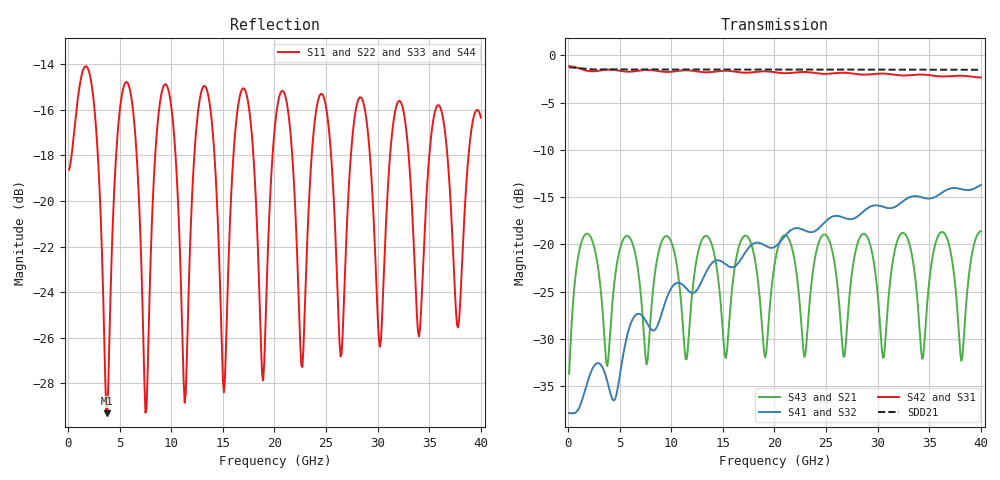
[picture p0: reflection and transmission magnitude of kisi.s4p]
! T_ts6_diff_sl: Edge-coupled stripline pair In2, w 0.1 / s 0.15 mm, 20 mm
! stackup: ThunderScope Rev5.3 6-layer (FR408HR / FR-4, from the board file)
! ports: 1 near A, 2 near B, 3 far A, 4 far B
! kisi-fdtd, conformal, dfine 0.035 mm, 661248 cells
# Hz S RI R 50
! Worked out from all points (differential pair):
!   400 points, 100 MHz to 40 GHz, reference 50 ohm
!   strongest paths, dB at 100 MHz, 10.1 GHz, 20.1 GHz, 30.1 GHz, 40 GHz:
!     S42: -1.1, -1.7, -1.8, -1.9, -2.3
!     S31: -1.1, -1.7, -1.8, -1.9, -2.3
!     S41: -37.9, -24.5, -20.2, -15.9, -13.7
!     S32: -37.9, -24.5, -20.2, -15.9, -13.7
!     S43: -33.7, -20.1, -21.5, -26.6, -18.6
!     S21: -33.7, -20.1, -21.5, -26.6, -18.6
!   taken as a pair (ports 2,1 in; 4,3 out), SDD21 dB: -1.3, -1.5, -1.5, -1.5, -1.5
!   lowest |S11| = -29.3 dB at 3.8 GHz (marker M1), VSWR 1.07, Z = 53.2 + j1.4 ohm
!   |S11| at or under -10 dB: start of sweep to end of sweep
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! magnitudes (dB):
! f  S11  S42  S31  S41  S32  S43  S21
! 100 MHz  -18.6  -1.1  -1.1  -37.9  -37.9  -33.7  -33.7
! 1.8 GHz  -14.1  -1.6  -1.6  -34.9  -34.9  -18.9  -18.9
! 3.8 GHz  -29.3  -1.5  -1.5  -34.5  -34.5  -32.9  -32.9
! 5.6 GHz  -14.8  -1.7  -1.7  -30.3  -30.3  -19.1  -19.1
! 7.5 GHz  -29.3  -1.5  -1.5  -28.1  -28.1  -31.9  -31.9
! 9.4 GHz  -14.9  -1.7  -1.7  -26.2  -26.2  -19.2  -19.2
! 40 GHz  -16.3  -2.3  -2.3  -13.7  -13.7  -18.6  -18.6
